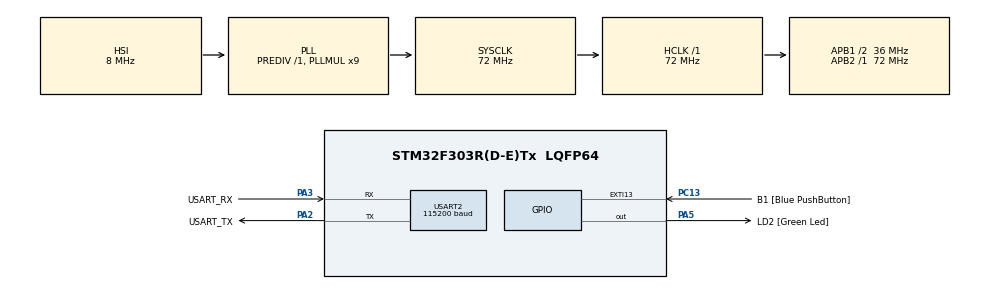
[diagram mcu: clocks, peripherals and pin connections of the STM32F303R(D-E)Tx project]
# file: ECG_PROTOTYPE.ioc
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Dma.Request0=USART2_RX
Dma.Request1=USART2_TX
Dma.USART2_RX.0.Direction=DMA_PERIPH_TO_MEMORY
Dma.USART2_RX.0.Instance=DMA1_Channel6
Dma.USART2_RX.0.MemDataAlignment=DMA_MDATAALIGN_BYTE
Dma.USART2_RX.0.MemInc=DMA_MINC_ENABLE
Dma.USART2_RX.0.Mode=DMA_CIRCULAR
Dma.USART2_RX.0.PeriphDataAlignment=DMA_PDATAALIGN_BYTE
Dma.USART2_RX.0.PeriphInc=DMA_PINC_DISABLE
Dma.USART2_RX.0.Priority=DMA_PRIORITY_LOW
Dma.USART2_TX.1.Direction=DMA_MEMORY_TO_PERIPH
Dma.USART2_TX.1.Instance=DMA1_Channel7
Dma.USART2_TX.1.MemDataAlignment=DMA_MDATAALIGN_BYTE
Dma.USART2_TX.1.MemInc=DMA_MINC_ENABLE
Dma.USART2_TX.1.Mode=DMA_NORMAL
Dma.USART2_TX.1.PeriphDataAlignment=DMA_PDATAALIGN_BYTE
Dma.USART2_TX.1.PeriphInc=DMA_PINC_DISABLE
Dma.USART2_TX.1.Priority=DMA_PRIORITY_LOW
Mcu.Family=STM32F3
Mcu.Name=STM32F303R(D-E)Tx
Mcu.Package=LQFP64
NVIC.DMA1_Channel6_IRQn=true\:0\:0\:false\:false\:true\:false\:true
NVIC.DMA1_Channel7_IRQn=true\:0\:0\:false\:false\:true\:false\:true
NVIC.PriorityGroup=NVIC_PRIORITYGROUP_0
NVIC.USART2_IRQn=true\:0\:0\:false\:false\:true\:true\:true
PA13.GPIO_Label=TMS
PA13.Mode=Serial_Wire
PA13.Signal=SYS_JTMS-SWDIO
PA14.GPIO_Label=TCK
PA14.Mode=Serial_Wire
PA14.Signal=SYS_JTCK-SWCLK
PA2.GPIO_Label=USART_TX
PA2.GPIO_Mode=GPIO_MODE_AF_PP
PA2.GPIO_PuPd=GPIO_NOPULL
PA2.GPIO_Speed=GPIO_SPEED_FREQ_LOW
PA2.Mode=Asynchronous
PA2.Signal=USART2_TX
PA3.GPIO_Label=USART_RX
PA3.GPIO_Mode=GPIO_MODE_AF_PP
PA3.GPIO_PuPd=GPIO_NOPULL
PA3.GPIO_Speed=GPIO_SPEED_FREQ_LOW
PA3.Mode=Asynchronous
PA3.Signal=USART2_RX
PA5.GPIO_Label=LD2 [Green Led]
PA5.GPIO_Mode=GPIO_MODE_OUTPUT_PP
PA5.GPIO_PuPd=GPIO_NOPULL
PA5.GPIO_Speed=GPIO_SPEED_FREQ_LOW
PA5.Signal=GPIO_Output
PB3.GPIO_Label=SWO
PB3.Signal=SYS_JTDO-TRACESWO
PC13.GPIO_Label=B1 [Blue PushButton]
PC13.GPIO_ModeDefaultEXTI=GPIO_MODE_IT_FALLING
PC13.Signal=GPXTI13
PC14-OSC32_IN.Mode=LSE-External-Oscillator
PC14-OSC32_IN.Signal=RCC_OSC32_IN
PC15-OSC32_OUT.Mode=LSE-External-Oscillator
PC15-OSC32_OUT.Signal=RCC_OSC32_OUT
PF0-OSC_IN.Mode=HSE-External-Clock-Source
PF0-OSC_IN.Signal=RCC_OSC_IN
PF1-OSC_OUT.Signal=RCC_OSC_OUT
ProjectManager.HeapSize=0x800
ProjectManager.StackSize=0x800
ProjectManager.TargetToolchain=STM32CubeIDE
RCC.AHBFreq_Value=72000000
RCC.APB1CLKDivider=RCC_HCLK_DIV2
RCC.APB1Freq_Value=36000000
RCC.APB1TimFreq_Value=72000000
RCC.APB2Freq_Value=72000000
RCC.APB2TimFreq_Value=72000000
RCC.CortexFreq_Value=72000000
RCC.HCLKFreq_Value=72000000
RCC.HSE_VALUE=8000000
RCC.HSI_VALUE=8000000
RCC.PLLM=8
RCC.PLLMUL=RCC_PLL_MUL9
RCC.PLLN=336
RCC.PLLP=RCC_PLLP_DIV4
RCC.PLLQ=7
RCC.RCC_PLLsource_Clock_Source_FROM_HSE=RCC_HSE_PREDIV_DIV2
RCC.SYSCLKFreq_VALUE=72000000
RCC.SYSCLKSourceVirtual=RCC_SYSCLKSOURCE_PLLCLK
RCC.USBFreq_Value=72000000
STMicroelectronics.X-CUBE-AI.7.0.0.ActivationBufferSizeList=9672
STMicroelectronics.X-CUBE-AI.7.0.0.HeapSize=0x800
STMicroelectronics.X-CUBE-AI.7.0.0.InternalRamActivationBufferMaxSize=AI_ECG_DATA_ACTIVATIONS_SIZE
STMicroelectronics.X-CUBE-AI.7.0.0.LatestDirectoryUsed-9a01e0593e81187759671fab1069f385ceea78f445c2cb8aaaca15eb907da52c=C\:\\Users\\sarlo\\Downloads\\tflite models
STMicroelectronics.X-CUBE-AI.7.0.0.MaximumNumberOfInputLayer=1
STMicroelectronics.X-CUBE-AI.7.0.0.MaximumNumberOfOutputLayer=1
STMicroelectronics.X-CUBE-AI.7.0.0.MaximumSizeOfInputLayer=1
STMicroelectronics.X-CUBE-AI.7.0.0.MaximumSizeOfOutputLayer=AI_ECG_OUT_1_SIZE_BYTES
STMicroelectronics.X-CUBE-AI.7.0.0.ModelActualCompression-9a01e0593e81187759671fab1069f385ceea78f445c2cb8aaaca15eb907da52c=0.0
STMicroelectronics.X-CUBE-AI.7.0.0.ModelCompression-9a01e0593e81187759671fab1069f385ceea78f445c2cb8aaaca15eb907da52c=1
STMicroelectronics.X-CUBE-AI.7.0.0.ModelFlashOccupation-9a01e0593e81187759671fab1069f385ceea78f445c2cb8aaaca15eb907da52c=5468
STMicroelectronics.X-CUBE-AI.7.0.0.ModelHashList=9a01e0593e81187759671fab1069f385ceea78f445c2cb8aaaca15eb907da52c
STMicroelectronics.X-CUBE-AI.7.0.0.ModelKind-9a01e0593e81187759671fab1069f385ceea78f445c2cb8aaaca15eb907da52c=TFLITE
STMicroelectronics.X-CUBE-AI.7.0.0.ModelMacc-9a01e0593e81187759671fab1069f385ceea78f445c2cb8aaaca15eb907da52c=273237
STMicroelectronics.X-CUBE-AI.7.0.0.ModelName-9a01e0593e81187759671fab1069f385ceea78f445c2cb8aaaca15eb907da52c=ecg
STMicroelectronics.X-CUBE-AI.7.0.0.ModelNameList=ecg
STMicroelectronics.X-CUBE-AI.7.0.0.ModelRamOccupation-9a01e0593e81187759671fab1069f385ceea78f445c2cb8aaaca15eb907da52c=9672
STMicroelectronics.X-CUBE-AI.7.0.0.ModelStructureFile-9a01e0593e81187759671fab1069f385ceea78f445c2cb8aaaca15eb907da52c=C\:\\Users\\sarlo\\Downloads\\tflite models\\mb3_100Hz_5s_ucfiltcompressed.tflite
STMicroelectronics.X-CUBE-AI.7.0.0.ModelType-9a01e0593e81187759671fab1069f385ceea78f445c2cb8aaaca15eb907da52c=STM32Cube.AI runtime
STMicroelectronics.X-CUBE-AI.7.0.0.ReadyForCodeGeneration=true
STMicroelectronics.X-CUBE-AI.7.0.0.StackSize=0x800
STMicroelectronics.X-CUBE-AI.7.0.0.WorkingBufferStartAddrList=0xFFFFFFFF
STMicroelectronics.X-CUBE-AI.7.0.0.XAaCUBEAaAICcArtificialOoIntelligenceJjCore=true
STMicroelectronics.X-CUBE-AI.7.0.0.copyWeightToRam-9a01e0593e81187759671fab1069f385ceea78f445c2cb8aaaca15eb907da52c=false
STMicroelectronics.X-CUBE-AI.7.0.0.customLayerConfigEnabled-9a01e0593e81187759671fab1069f385ceea78f445c2cb8aaaca15eb907da52c=false
STMicroelectronics.X-CUBE-AI.7.0.0.useInputAllocation-9a01e0593e81187759671fab1069f385ceea78f445c2cb8aaaca15eb907da52c=true
TIM16.Prescaler=7999
USART2.BaudRate=115200
USART2.VirtualMode-Asynchronous=VM_ASYNC
VP_CRC_VS_CRC.Mode=CRC_Activate
VP_STMicroelectronics.X-CUBE-AI_VS_ArtificialOoIntelligenceJjXAaCUBEAaAI_7.0.0.Mode=ArtificialOoIntelligenceJjXAaCUBEAaAI
VP_TIM16_VS_ClockSourceINT.Mode=Enable_Timer
board=NUCLEO-F303RE

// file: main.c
/* USER CODE BEGIN Header */
/**
  ******************************************************************************
  * @file           : main.c
  * @brief          : Main program body
  ******************************************************************************
  * @attention
  *
  * <h2><center>&copy; Copyright (c) 2021 STMicroelectronics.
  * All rights reserved.</center></h2>
  *
  * This software component is licensed by ST under BSD 3-Clause license,
  * the "License"; You may not use this file except in compliance with the
  * License. You may obtain a copy of the License at:
  *                        opensource.org/licenses/BSD-3-Clause
  *
  ******************************************************************************
  */
/* USER CODE END Header */
#include "main.h"

/* USER CODE BEGIN Includes */
#include <stdio.h>
#include <math.h>
#include "input_parser.h"
#include "ecg.h"
#include "ecg_data.h"
#include "ecg_processing.h"
// #include "ai_functions.h"

/* USER CODE END Includes */

/* USER CODE BEGIN PD */
/*
 *  Define static parameters
 */
#define UPSAMPLING_FREQUENCY 500 // what is received
#define NUMBER_OF_INPUTS 2500 // window length (5 s) * UPSAMPLING_FREQUENCY
#define send_signal 0 // if set to 1, processed input signal is transmitted over the serial line to PC,
#define time_the_execution 0 // if set to 1, execution time is sent to the PC

#define BATCH_OF_INPUTS 250 // 2 * number_of_inputs % BATCH_OF_INPUTS == 0
#define MAX_MESSAGE_LENGTH 10 // depends on num of characters of input messages, set by the ECG simulator
#define RECIEVE_BUFFER_SZ 5001 // 2 * number_of_inputs + 1
#define RECIEVE_BATCH_SZ_FIRST_HALF 2500 // recieve_buffer_sz / 2, first half of the double buffer
#define RECIEVE_BATCH_SZ_SECOND_HALF 5000 // recieve_buffer_sz, second half of the double buffer
#define FIRST_HALF 0
#define SECOND_HALF 2500 // recieve_buffer_sz / 2

#define SAMPLING_FREQUENCY 100 // what the neural network expects
#define OK 0
#define EMPTY 0
#define ECG_BATCHES 1
#define READY 1
#define NOT_READY 0

/********COMMUNICATION SECTION BEGIN********/
uint8_t UART_RECIEVE_BUFFER[RECIEVE_BUFFER_SZ] = {0};

int UART_RECIEVE_BUFFER_SIZE = sizeof(UART_RECIEVE_BUFFER) - 1;

float PROCESSED_INPUTS[NUMBER_OF_INPUTS];

uint16_t timer_val;
int write_idx = 0;
char buf[50];
int buf_len = 0;
double prediction;
int input_ready = NOT_READY;
/********COMMUNICATION SECTION END********/

/********AI SECTION BEGIN********/
static ai_handle ecg = AI_HANDLE_NULL;
AI_ALIGNED(32)
static ai_u8 activations[AI_ECG_DATA_ACTIVATIONS_SIZE];

/* Data payload for input tensor */
#if defined(AI_NETWORK_INPUTS_IN_ACTIVATIONS)
static ai_float in_data;
#else
  /* Buffer should be allocated by the application
     in this case: input->data == NULL */
AI_ALIGNED(32)
static ai_float in_data[AI_ECG_IN_1_SIZE];
#endif

/* Data payload for the output tensor */
AI_ALIGNED(32)
static ai_float out_data[AI_ECG_OUT_1_SIZE];
/********AI SECTION END********/

/* USER CODE END PD */

CRC_HandleTypeDef hcrc;

TIM_HandleTypeDef htim16;

UART_HandleTypeDef huart2;
DMA_HandleTypeDef hdma_usart2_rx;
DMA_HandleTypeDef hdma_usart2_tx;

void SystemClock_Config(void);
static void MX_GPIO_Init(void);
static void MX_USART2_UART_Init(void);
static void MX_DMA_Init(void);
static void MX_CRC_Init(void);
static void MX_TIM16_Init(void);

/* USER CODE BEGIN 0 */

/********AI FUNCTIONS BEGIN********/
int ai_init(void) {
  ai_error err;
  char buf[50];
  int buf_len = 0;

  /* 1 - Create an instance of the model */
  err = ai_ecg_create(&ecg, AI_ECG_DATA_CONFIG /* or NULL */);
  if (err.type != AI_ERROR_NONE) {
    printf("ERROR: ai_ecg_create type=%d code=%d!\r\n", err.type, err.code);
    return -1;
    };

  /* 2 - Initialize the instance */
  const ai_network_params params = AI_NETWORK_PARAMS_INIT(
      AI_ECG_DATA_WEIGHTS(ai_ecg_data_weights_get()),
      AI_ECG_DATA_ACTIVATIONS(activations)
  );

  if (!ai_ecg_init(ecg, &params)) {
      err = ai_ecg_get_error(ecg);
      buf_len = sprintf(buf, "ERROR: ai_ecg_init type=%d code=%d!\r\n", err.type, err.code);
      HAL_UART_Transmit(&huart2, (uint8_t *)buf, buf_len, 100);
      return -1;
    }

  return 0;
}

int ai_run(const void *in_data, void *out_data)
{
	char buf[100];
	int buf_len = 0;
	ai_i32 n_batch;
	ai_error err;

	/* 1 - Create the AI buffer IO handlers with the default definition */
	ai_buffer ai_input[AI_ECG_IN_NUM] = AI_ECG_IN ;
	ai_buffer ai_output[AI_ECG_OUT_NUM] = AI_ECG_OUT ;

	/* 2 - Update IO handlers with the data payload */
	ai_input[0].n_batches = ECG_BATCHES;
	ai_input[0].data = AI_HANDLE_PTR(in_data);
	ai_output[0].n_batches = ECG_BATCHES;
	ai_output[0].data = AI_HANDLE_PTR(out_data);

	/* 3 - Perform the inference */
	n_batch = ai_ecg_run(ecg, &ai_input[0], &ai_output[0]);
	if (n_batch != 1) {
		err = ai_ecg_get_error(ecg);

		buf_len = sprintf(buf, "ERROR: ai_ecg_run type=%d code=%d!\r\n", err.type, err.code);
		HAL_UART_Transmit(&huart2, (uint8_t *)buf, buf_len, 100);
		return -1;
  };

  return 0;
}

float perform_inference(void){
	// fill input tensor
	standardization(PROCESSED_INPUTS, NUMBER_OF_INPUTS);
	filt_and_downsample(in_data, PROCESSED_INPUTS, NUMBER_OF_INPUTS, UPSAMPLING_FREQUENCY, SAMPLING_FREQUENCY);
	min_max_normalization(in_data, AI_ECG_IN_1_SIZE);

	if (send_signal == True){
		for(int i = 0; i<AI_ECG_IN_1_SIZE; i++){
					buf_len = sprintf(buf, "n%f\n", in_data[i]);
					HAL_UART_Transmit(&huart2, (uint8_t *)buf, buf_len, 5);
				}
		buf_len = sprintf(buf, "sig_end\n");
		HAL_UART_Transmit(&huart2, (uint8_t *)buf, buf_len, 1);
	}

//	timer_val = __HAL_TIM_GET_COUNTER(&htim16); // optionally we can time the inference
	// run inference
	if(ai_run(in_data, out_data) != OK){
		Error_Handler();
	}

//	timer_val = __HAL_TIM_GET_COUNTER(&htim16) - timer_val;
//	buf_len = sprintf(buf, "exec_time: %u us\n", timer_val);
//	HAL_UART_Transmit(&huart2, (uint8_t *)buf, buf_len, 100);

	// return output
	prediction = ((float *)out_data)[0];

	return prediction;
}
/********AI FUNCTIONS END*******/
/********COMMUNICATIONS FUNCTIONS BEGIN********/

// copy lower half of the buffer while DMA writes into the upper part
void HAL_UART_RxHalfCpltCallback(UART_HandleTypeDef *huart)
{
	// check that lower half has correct amount of numbers
	int numbers_recieved = numbers_count(UART_RECIEVE_BUFFER, RECIEVE_BATCH_SZ_FIRST_HALF, FIRST_HALF);

	if(numbers_recieved != BATCH_OF_INPUTS){
			uint8_t error_message[] = "\r\nERROR: RECIEVED DIFFERENT NUMBER OF INPUTS!\r\n";
			HAL_UART_Transmit(&huart2, error_message, sizeof(error_message), 100);
			Error_Handler();
		}
	// If transmission success, perform parsing
	write_idx = parse_input_float(UART_RECIEVE_BUFFER, UART_RECIEVE_BUFFER_SIZE/2, FIRST_HALF, PROCESSED_INPUTS, write_idx);
}

// copy upper half of the buffer and flip the inference flag
void HAL_UART_RxCpltCallback(UART_HandleTypeDef *huart)
  {
	int numbers_recieved = numbers_count(UART_RECIEVE_BUFFER, RECIEVE_BATCH_SZ_SECOND_HALF, SECOND_HALF);

	if(numbers_recieved != BATCH_OF_INPUTS){
			uint8_t error_message[] = "\r\nERROR: RECIEVED DIFFERENT NUMBER OF INPUTS!\r\n";
			HAL_UART_Transmit(&huart2, error_message, sizeof(error_message), 100);
			Error_Handler();
		}

	// If transmission success, perform parsing
	write_idx = parse_input_float(UART_RECIEVE_BUFFER, UART_RECIEVE_BUFFER_SIZE/2, SECOND_HALF, PROCESSED_INPUTS, write_idx);

	// If entire window received
	// ready for inference
	// flip the flag
	if (write_idx == NUMBER_OF_INPUTS){
		write_idx = 0;
		input_ready = READY;
	}

  }

/********COMMUNICATIONS FUNCTIONS END********/

/* USER CODE END 0 */

int main(void)
{

  /* MCU Configuration--------------------------------------------------------*/

  /* Reset of all peripherals, Initializes the Flash interface and the Systick. */
  HAL_Init();

  /* Configure the system clock */
  SystemClock_Config();

  /* Initialize all configured peripherals */
  MX_GPIO_Init();
  MX_DMA_Init();
  MX_USART2_UART_Init();
  MX_CRC_Init();
  MX_TIM16_Init();
  /* USER CODE BEGIN 2 */
	/* The STM32 CRC IP clock should be enabled to use the network runtime library */
	__HAL_RCC_CRC_CLK_ENABLE();

	ai_init();
	HAL_UART_Receive_DMA(&huart2, UART_RECIEVE_BUFFER, UART_RECIEVE_BUFFER_SIZE);

	ai_network_report report;
	ai_ecg_get_info(ecg, &report);

	#if defined(AI_NETWORK_INPUTS_IN_ACTIVATIONS)
	  /* Set the descriptor of the first input tensor (index 0) */
	  const ai_buffer *input = &report.inputs[0];
	  /* Retrieve the @ of the input buffer */
	  in_data = (ai_float *)input->data;
	#endif

	for(int i = 0;i < 4;i++){
		HAL_GPIO_TogglePin(GPIOA, GPIO_PIN_5);
		HAL_Delay(300);
	}

	HAL_TIM_Base_Start(&htim16);
  /* USER CODE END 2 */

  /* Infinite loop */
  /* USER CODE BEGIN WHILE */
  while (1)
  {
	  // check for inference flag
	if(input_ready == READY){
		if(time_the_execution){
			timer_val = __HAL_TIM_GET_COUNTER(&htim16); // start the timer
		}

		input_ready = NOT_READY;

		float y_val = perform_inference();

		// Detect rpeaks and calculate ecg parameters
		r_peak_detection(in_data, AI_ECG_IN_1_SIZE, SAMPLING_FREQUENCY, huart2);

		// Send inference result
		buf_len = sprintf(buf, "prediction: %.2f\n", y_val);
		HAL_UART_Transmit(&huart2, (uint8_t *)buf, buf_len, 100);

		if(time_the_execution){
			// Optionally time the execution speed
					timer_val = __HAL_TIM_GET_COUNTER(&htim16) - timer_val;
					buf_len = sprintf(buf, "exec_time: %u us\n", timer_val);
					HAL_UART_Transmit(&huart2, (uint8_t *)buf, buf_len, 100);
		}

	  }
    /* USER CODE END WHILE */

  }
}

void SystemClock_Config(void)
{
  RCC_OscInitTypeDef RCC_OscInitStruct = {0};
  RCC_ClkInitTypeDef RCC_ClkInitStruct = {0};
  RCC_PeriphCLKInitTypeDef PeriphClkInit = {0};

  /** Initializes the RCC Oscillators according to the specified parameters
  * in the RCC_OscInitTypeDef structure.
  */
  RCC_OscInitStruct.OscillatorType = RCC_OSCILLATORTYPE_HSI;
  RCC_OscInitStruct.HSIState = RCC_HSI_ON;
  RCC_OscInitStruct.HSICalibrationValue = RCC_HSICALIBRATION_DEFAULT;
  RCC_OscInitStruct.PLL.PLLState = RCC_PLL_ON;
  RCC_OscInitStruct.PLL.PLLSource = RCC_PLLSOURCE_HSI;
  RCC_OscInitStruct.PLL.PLLMUL = RCC_PLL_MUL9;
  RCC_OscInitStruct.PLL.PREDIV = RCC_PREDIV_DIV1;
  if (HAL_RCC_OscConfig(&RCC_OscInitStruct) != HAL_OK)
  {
    Error_Handler();
  }
  /** Initializes the CPU, AHB and APB buses clocks
  */
  RCC_ClkInitStruct.ClockType = RCC_CLOCKTYPE_HCLK|RCC_CLOCKTYPE_SYSCLK
                              |RCC_CLOCKTYPE_PCLK1|RCC_CLOCKTYPE_PCLK2;
  RCC_ClkInitStruct.SYSCLKSource = RCC_SYSCLKSOURCE_PLLCLK;
  RCC_ClkInitStruct.AHBCLKDivider = RCC_SYSCLK_DIV1;
  RCC_ClkInitStruct.APB1CLKDivider = RCC_HCLK_DIV2;
  RCC_ClkInitStruct.APB2CLKDivider = RCC_HCLK_DIV1;

  if (HAL_RCC_ClockConfig(&RCC_ClkInitStruct, FLASH_LATENCY_2) != HAL_OK)
  {
    Error_Handler();
  }
  PeriphClkInit.PeriphClockSelection = RCC_PERIPHCLK_USART2|RCC_PERIPHCLK_TIM16;
  PeriphClkInit.Usart2ClockSelection = RCC_USART2CLKSOURCE_PCLK1;
  PeriphClkInit.Tim16ClockSelection = RCC_TIM16CLK_HCLK;
  if (HAL_RCCEx_PeriphCLKConfig(&PeriphClkInit) != HAL_OK)
  {
    Error_Handler();
  }
}

static void MX_CRC_Init(void)
{

  hcrc.Instance = CRC;
  hcrc.Init.DefaultPolynomialUse = DEFAULT_POLYNOMIAL_ENABLE;
  hcrc.Init.DefaultInitValueUse = DEFAULT_INIT_VALUE_ENABLE;
  hcrc.Init.InputDataInversionMode = CRC_INPUTDATA_INVERSION_NONE;
  hcrc.Init.OutputDataInversionMode = CRC_OUTPUTDATA_INVERSION_DISABLE;
  hcrc.InputDataFormat = CRC_INPUTDATA_FORMAT_BYTES;
  if (HAL_CRC_Init(&hcrc) != HAL_OK)
  {
    Error_Handler();
  }

}

static void MX_TIM16_Init(void)
{

  htim16.Instance = TIM16;
  htim16.Init.Prescaler = 7999;
  htim16.Init.CounterMode = TIM_COUNTERMODE_UP;
  htim16.Init.Period = 65535;
  htim16.Init.ClockDivision = TIM_CLOCKDIVISION_DIV1;
  htim16.Init.RepetitionCounter = 0;
  htim16.Init.AutoReloadPreload = TIM_AUTORELOAD_PRELOAD_DISABLE;
  if (HAL_TIM_Base_Init(&htim16) != HAL_OK)
  {
    Error_Handler();
  }

}

static void MX_USART2_UART_Init(void)
{

  huart2.Instance = USART2;
  huart2.Init.BaudRate = 115200;
  huart2.Init.WordLength = UART_WORDLENGTH_8B;
  huart2.Init.StopBits = UART_STOPBITS_1;
  huart2.Init.Parity = UART_PARITY_NONE;
  huart2.Init.Mode = UART_MODE_TX_RX;
  huart2.Init.HwFlowCtl = UART_HWCONTROL_NONE;
  huart2.Init.OverSampling = UART_OVERSAMPLING_16;
  huart2.Init.OneBitSampling = UART_ONE_BIT_SAMPLE_DISABLE;
  huart2.AdvancedInit.AdvFeatureInit = UART_ADVFEATURE_NO_INIT;
  if (HAL_UART_Init(&huart2) != HAL_OK)
  {
    Error_Handler();
  }

}

static void MX_DMA_Init(void)
{

  /* DMA controller clock enable */
  __HAL_RCC_DMA1_CLK_ENABLE();

  /* DMA interrupt init */
  /* DMA1_Channel6_IRQn interrupt configuration */
  HAL_NVIC_SetPriority(DMA1_Channel6_IRQn, 0, 0);
  HAL_NVIC_EnableIRQ(DMA1_Channel6_IRQn);
  /* DMA1_Channel7_IRQn interrupt configuration */
  HAL_NVIC_SetPriority(DMA1_Channel7_IRQn, 0, 0);
  HAL_NVIC_EnableIRQ(DMA1_Channel7_IRQn);

}

static void MX_GPIO_Init(void)
{
  GPIO_InitTypeDef GPIO_InitStruct = {0};

  /* GPIO Ports Clock Enable */
  __HAL_RCC_GPIOC_CLK_ENABLE();
  __HAL_RCC_GPIOF_CLK_ENABLE();
  __HAL_RCC_GPIOA_CLK_ENABLE();
  __HAL_RCC_GPIOB_CLK_ENABLE();

  /*Configure GPIO pin Output Level */
  HAL_GPIO_WritePin(LD2_GPIO_Port, LD2_Pin, GPIO_PIN_RESET);

  /*Configure GPIO pin : B1_Pin */
  GPIO_InitStruct.Pin = B1_Pin;
  GPIO_InitStruct.Mode = GPIO_MODE_IT_FALLING;
  GPIO_InitStruct.Pull = GPIO_NOPULL;
  HAL_GPIO_Init(B1_GPIO_Port, &GPIO_InitStruct);

  /*Configure GPIO pin : LD2_Pin */
  GPIO_InitStruct.Pin = LD2_Pin;
  GPIO_InitStruct.Mode = GPIO_MODE_OUTPUT_PP;
  GPIO_InitStruct.Pull = GPIO_NOPULL;
  GPIO_InitStruct.Speed = GPIO_SPEED_FREQ_LOW;
  HAL_GPIO_Init(LD2_GPIO_Port, &GPIO_InitStruct);

}

void Error_Handler(void)
{
  /* USER CODE BEGIN Error_Handler_Debug */
  /* User can add his own implementation to report the HAL error return state */
  HAL_GPIO_TogglePin(GPIOA, GPIO_PIN_5);
  HAL_Delay(100);

  __disable_irq();
  while (1)
  {
  }
  /* USER CODE END Error_Handler_Debug */
}

/************************ (C) COPYRIGHT STMicroelectronics *****END OF FILE****/
